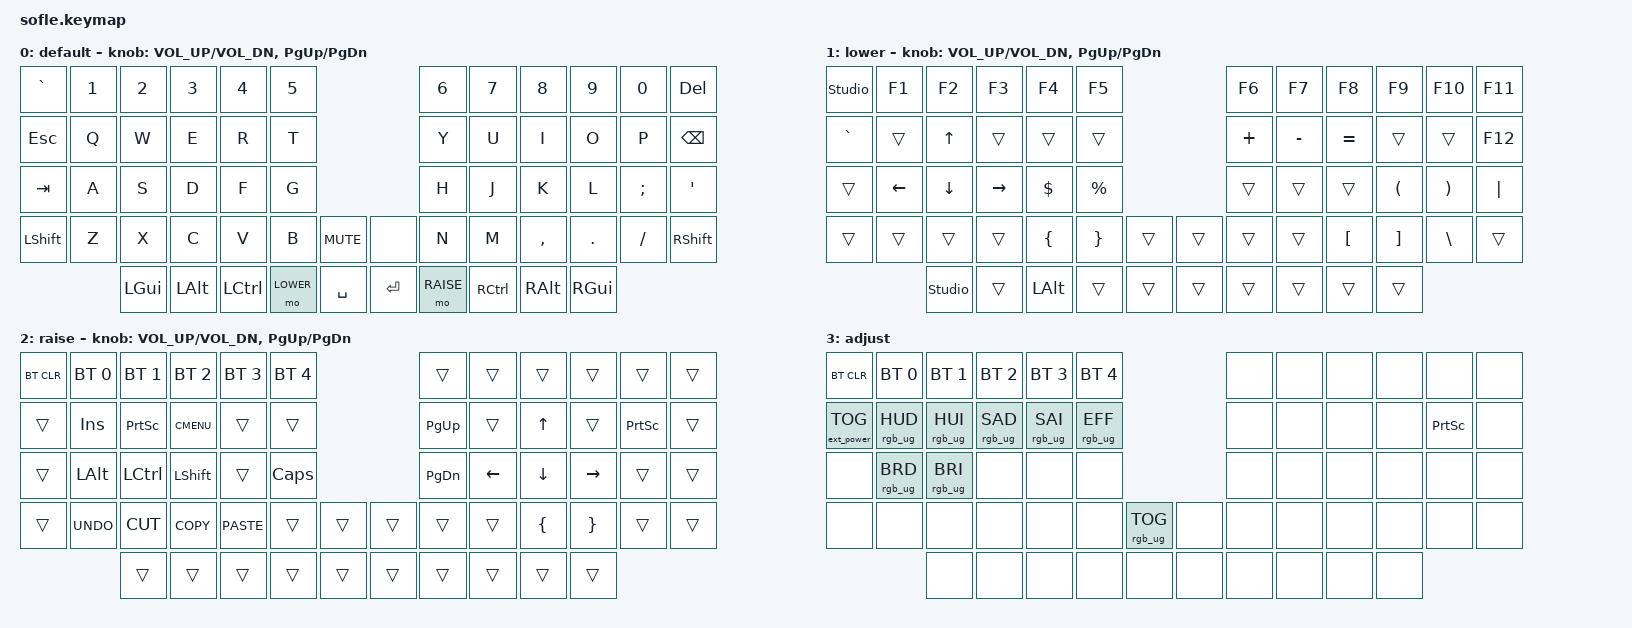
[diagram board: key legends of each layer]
/*
 * Copyright (c) 2020 The ZMK Contributors
 *
 * SPDX-License-Identifier: MIT
 */

#include <behaviors.dtsi>
#include <dt-bindings/zmk/bt.h>
#include <dt-bindings/zmk/ext_power.h>
#include <dt-bindings/zmk/keys.h>
#include <dt-bindings/zmk/rgb.h>

#define BASE 0
#define LOWER 1
#define RAISE 2
#define ADJUST 3

/ {
    // Activate ADJUST layer by pressing raise and lower

    conditional_layers {
        compatible = "zmk,conditional-layers";

        adjust_layer {
            if-layers = <LOWER RAISE>;
            then-layer = <ADJUST>;
        };
    };

    combos {
        compatible = "zmk,combos";

        CapsLock {
            bindings = <&kp CAPSLOCK>;
            key-positions = <24 12>;
        };
    };

    macros {
        new_macro: new_macro {
            compatible = "zmk,behavior-macro";
            #binding-cells = <0>;
            bindings = <&kp LSHFT &kp TAB>;
            label = "NEW_MACRO";
        };
    };

    keymap {
        compatible = "zmk,keymap";

        default_layer {
            label = "default";

            // ------------------------------------------------------------------------------------------------------------
            // |   `   |  1  |  2  |  3   |  4   |  5   |                   |  6   |  7    |  8    |  9   |   0   |       |
            // |  ESC  |  Q  |  W  |  E   |  R   |  T   |                   |  Y   |  U    |  I    |  O   |   P   | BKSPC |
            // |  TAB  |  A  |  S  |  D   |  F   |  G   |                   |  H   |  J    |  K    |  L   |   ;   |   '   |
            // | SHIFT |  Z  |  X  |  C   |  V   |  B   |  MUTE  |  |       |  N   |  M    |  ,    |  .   |   /   | SHIFT |
            //               | GUI | ALT  | CTRL | LOWER|  ENTER |  | SPACE | RAISE| CTRL  | ALT   | GUI  |

            bindings = <
&kp GRAVE  &kp N1  &kp N2    &kp N3    &kp N4     &kp N5                              &kp N6     &kp N7     &kp N8     &kp N9    &kp N0    &kp DELETE
&kp ESC    &kp Q   &kp W     &kp E     &kp R      &kp T                               &kp Y      &kp U      &kp I      &kp O     &kp P     &kp BSPC
&kp TAB    &kp A   &kp S     &kp D     &kp F      &kp G                               &kp H      &kp J      &kp K      &kp L     &kp SEMI  &kp SQT
&kp LSHFT  &kp Z   &kp X     &kp C     &kp V      &kp B      &kp C_MUTE    &none      &kp N      &kp M      &kp COMMA  &kp DOT   &kp FSLH  &kp RSHFT
                   &kp LGUI  &kp LALT  &kp LCTRL  &mo LOWER  &kp SPACE     &kp ENTER  &mo RAISE  &kp RCTRL  &kp RALT   &kp RGUI
            >;

            sensor-bindings = <&inc_dec_kp C_VOL_UP C_VOL_DN &inc_dec_kp PG_UP PG_DN>;
        };

        lower_layer {
            label = "lower";

            // TODO: Some binds are waiting for shifted keycode support.
            // ------------------------------------------------------------------------------------------------------------
            // |       |  F1 |  F2 |  F3  |  F4  |  F5  |                   |  F6  |  F7   |  F8   |  F9  |  F10  |  F11  |
            // |   `   |  1  |  2  |  3   |  4   |  5   |                   |  6   |  7    |  8    |  9   |   0   |  F12  |
            // |       |  !  |  @  |  #   |  $   |  %   |                   |  ^   |  &    |  *    |  (   |   )   |   |   |
            // |       |  =  |  -  |  +   |  {   |  }   |        |  |       |  [   |  ]    |  ;    |  :   |   \   |       |
            //               |     |      |      |      |        |  |       |      |       |       |      |

            bindings = <
&studio_unlock  &kp F1    &kp F2          &kp F3     &kp F4        &kp F5                       &kp F6    &kp F7     &kp F8            &kp F9             &kp F10   &kp F11
&kp GRAVE       &trans    &kp UP_ARROW    &trans     &trans        &trans                       &kp PLUS  &kp MINUS  &kp EQUAL         &trans             &trans    &kp F12
&trans          &kp LEFT  &kp DOWN_ARROW  &kp RIGHT  &kp DLLR      &kp PRCNT                    &trans    &trans     &trans            &kp LPAR           &kp RPAR  &kp PIPE
&trans          &trans    &trans          &trans     &kp LBRC      &kp RBRC   &trans    &trans  &trans    &trans     &kp LEFT_BRACKET  &kp RIGHT_BRACKET  &kp BSLH  &trans
                          &studio_unlock  &trans     &kp LEFT_ALT  &trans     &trans    &trans  &trans    &trans     &trans            &trans
            >;

            sensor-bindings = <&inc_dec_kp C_VOL_UP C_VOL_DN &inc_dec_kp PG_UP PG_DN>;
        };

        raise_layer {
            label = "raise";

            // ------------------------------------------------------------------------------------------------------------
            // | BTCLR | BT1  | BT2  |  BT3  |  BT4  |  BT5 |                |      |      |       |      |       |       |
            // |       | INS  | PSCR | GUI   |       |      |                | PGUP |      |   ^   |      |       |       |
            // |       | ALT  | CTRL | SHIFT |       | CAPS |                | PGDN |   <- |   v   |  ->  |  DEL  | BKSPC |
            // |       | UNDO | CUT  | COPY  | PASTE |      |      |  |      |      |      |       |      |       |       |
            //                |      |       |       |      |      |  |      |      |      |       |      |

            bindings = <
&bt BT_CLR  &bt BT_SEL 0  &bt BT_SEL 1  &bt BT_SEL 2  &bt BT_SEL 3  &bt BT_SEL 4                    &trans     &trans    &trans          &trans           &trans           &trans
&trans      &kp INS       &kp PSCRN     &kp K_CMENU   &trans        &trans                          &kp PG_UP  &trans    &kp UP          &trans           &kp PRINTSCREEN  &trans
&trans      &kp LALT      &kp LCTRL     &kp LSHFT     &trans        &kp CLCK                        &kp PG_DN  &kp LEFT  &kp DOWN        &kp RIGHT        &trans           &trans
&trans      &kp K_UNDO    &kp K_CUT     &kp K_COPY    &kp K_PASTE   &trans        &trans    &trans  &trans     &trans    &kp LEFT_BRACE  &kp RIGHT_BRACE  &trans           &trans
                          &trans        &trans        &trans        &trans        &trans    &trans  &trans     &trans    &trans          &trans
            >;

            sensor-bindings = <&inc_dec_kp C_VOL_UP C_VOL_DN &inc_dec_kp PG_UP PG_DN>;
        };

        adjust_layer {
            // ----------------------------------------------------------------------------------------------------------------------------
            // | BTCLR  |  BT1    |  BT2    |   BT3   |   BT4   |   BT5   |                  |      |      |       |      |       |       |
            // | EXTPWR | RGB_HUD | RGB_HUI | RGB_SAD | RGB_SAI | RGB_EFF |                  |      |      |       |      |       |       |
            // |        | RGB_BRD | RGB_BRI |         |         |         |                  |      |      |       |      |       |       |
            // |        |         |         |         |         |         | RGB_TOG | |      |      |      |       |      |       |       |
            //                    |         |         |         |         |         | |      |      |      |       |      |

            label = "adjust";
            bindings = <
&bt BT_CLR         &bt BT_SEL 0     &bt BT_SEL 1     &bt BT_SEL 2     &bt BT_SEL 3     &bt BT_SEL 4                               &none  &none  &none  &none  &none            &none
&ext_power EP_TOG  &rgb_ug RGB_HUD  &rgb_ug RGB_HUI  &rgb_ug RGB_SAD  &rgb_ug RGB_SAI  &rgb_ug RGB_EFF                            &none  &none  &none  &none  &kp PRINTSCREEN  &none
&none              &rgb_ug RGB_BRD  &rgb_ug RGB_BRI  &none            &none            &none                                      &none  &none  &none  &none  &none            &none
&none              &none            &none            &none            &none            &none            &rgb_ug RGB_TOG    &none  &none  &none  &none  &none  &none            &none
                                    &none            &none            &none            &none            &none              &none  &none  &none  &none  &none
            >;
        };
    };
};
